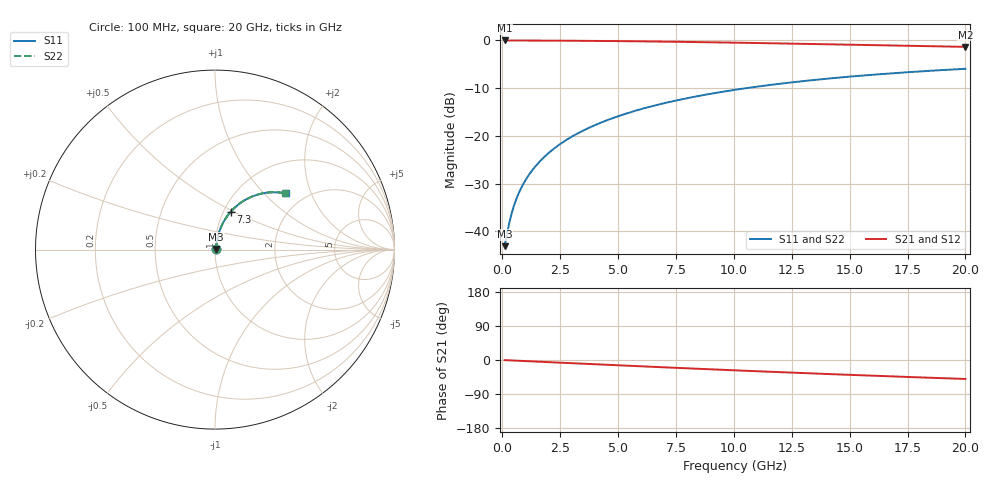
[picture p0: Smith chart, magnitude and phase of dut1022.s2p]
! Touchstone file exported from HFSS 2026.1.0
!  File:  C:/ffzhzh/LocalFiles/Ansys_Project_Files/temp_train_TMRDL_1022_1783159877_22436.aedt
!  Generated:  06:12:36 PM Jul  4, 2026
!  Design:  TMRDL
!  Project:  temp_train_TMRDL_1022_1783159877_22436
! Variables:
!  h_bsmrdl = 2um
!  h_ox = 20um
!  h_rdl = 5um
!  h_sub = 80um
!  h_tmrdl = 2.33um
!  h_tsv = 80um
!  h_via = 3um
!  l_bsmrdl = 300um
!  l_sub = 1102.7um
!  l_tmrdl = 702.7um
!  m_sub = 200um
!  pitch = 50.23um
!  r_tsv = 6um
!  s_tmrdl = 10um
!  w_bsmrdl = 18um
!  w_sub = 500um
!  w_tmrdl = 18.18um
!  x_tsv_center1 = 711.79um
!  x_tsv_center2 = 1029.79um
!  x_tsv_center3 = 1750.67um
!  x_tsv_center4 = 2068.67um
!  x_tsv_center5 = 2789.55um
!  x_tsv_center6 = 3107.55um
# GHz S MA R 50.000000
! Terminal data exported
! Port[1] = TM_RDL1_1_T1
! Port[2] = TM_RDL1_1_T2
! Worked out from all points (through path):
!   200 points, 100 MHz to 20 GHz, reference 50 ohm
!   highest |S21| = -0.05 dB at 100 MHz (marker M1); lowest = -1.4 dB at 20 GHz (marker M2)
!   group delay of S21, straight-line fit = 6.97 ps
!   lowest |S11| = -43.1 dB at 100 MHz (marker M3), VSWR 1.01, Z = 50.6 + j0.354 ohm
!   |S11| at or under -10 dB: start of sweep to 10.58 GHz
!   |S22| runs from -43.1 to -6.0 dB; largest |S21 - S12| = 3.9e-15
!   S11 on the Smith chart (normalised r, x): 100 MHz: 1.01, +0.01; 7.3 GHz: 1.08, +0.48; 20 GHz: 1.60, +1.34
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0.1  0.007002 29.9  0.9939 -0.3  0.9939 -0.3  0.007002 29.9
! Gamma 0 0 0 0
! Port Impedance 50 0 50 0
0.3  0.01221 58.1  0.9936 -0.9  0.9936 -0.9  0.01221 58.1
0.4  0.01529 63.8  0.9934 -1.2  0.9934 -1.2  0.01529 63.8
0.5  0.01842 67.4  0.9932 -1.5  0.9932 -1.5  0.01842 67.4
0.6  0.02158 69.9  0.993 -1.7  0.993 -1.7  0.02158 69.9
0.8  0.02791 73.0  0.9926 -2.3  0.9926 -2.3  0.02791 73.0
1.1  0.03741 75.5  0.992 -3.2  0.992 -3.2  0.03741 75.5
1.3  0.04375 76.4  0.9916 -3.7  0.9916 -3.7  0.04375 76.4
1.6  0.05329 77.2  0.991 -4.5  0.991 -4.5  0.05329 77.2
2.1  0.06922 77.6  0.9898 -5.9  0.9898 -5.9  0.06922 77.6
2.7  0.0883 77.2  0.9882 -7.6  0.9882 -7.6  0.0883 77.2
3.5  0.1136 76.0  0.9854 -9.8  0.9854 -9.8  0.1136 76.0
4.2  0.1355 74.7  0.9825 -11.8  0.9825 -11.8  0.1355 74.7
5  0.1601 72.9  0.9785 -14.0  0.9785 -14.0  0.1601 73.0
5.9  0.1873 70.8  0.9735 -16.4  0.9735 -16.4  0.1873 70.9
6.8  0.2137 68.7  0.9677 -18.8  0.9677 -18.8  0.2137 68.7
7.3  0.2281 67.5  0.9643 -20.2  0.9643 -20.2  0.2281 67.5
8.6  0.2644 64.3  0.9546 -23.6  0.9546 -23.6  0.2644 64.3
10.1  0.304 60.6  0.9423 -27.4  0.9423 -27.4  0.304 60.7
13.4  0.3823 52.8  0.9126 -35.5  0.9126 -35.5  0.3823 52.9
16.7  0.4482 45.4  0.8817 -43.0  0.8817 -43.0  0.4481 45.5
20  0.5023 38.5  0.852 -50.0  0.852 -50.0  0.5023 38.6
